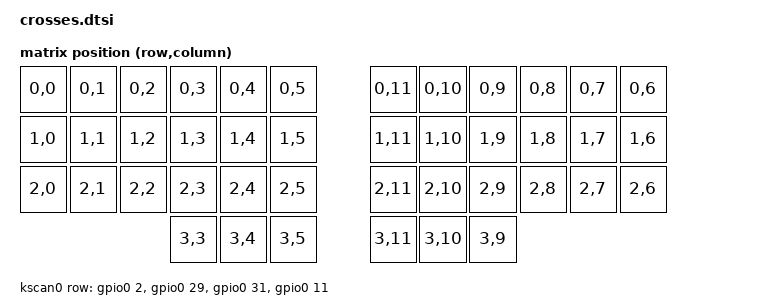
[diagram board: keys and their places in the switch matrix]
#include <dt-bindings/zmk/matrix_transform.h>
#include <dt-bindings/led/led.h>
#include <physical_layouts.dtsi>

/ {
    chosen {
        zmk,kscan = &kscan0;
        zmk,physical-layout = &physical_layout0;
    };

    default_transform: keymap_transform_0 {
        compatible = "zmk,matrix-transform";
        columns = <12>;
        rows = <4>;

        map = <
            RC(0,0) RC(0,1) RC(0,2) RC(0,3) RC(0,4) RC(0,5)                 RC(0,11) RC(0,10) RC(0,9) RC(0,8) RC(0,7) RC(0,6)  
            RC(1,0) RC(1,1) RC(1,2) RC(1,3) RC(1,4) RC(1,5)                 RC(1,11) RC(1,10) RC(1,9) RC(1,8) RC(1,7) RC(1,6) 
            RC(2,0) RC(2,1) RC(2,2) RC(2,3) RC(2,4) RC(2,5)                 RC(2,11) RC(2,10) RC(2,9) RC(2,8) RC(2,7) RC(2,6) 
                                   RC(3,3) RC(3,4) RC(3,5)                 RC(3,11) RC(3,10) RC(3,9)            
        >;
    };

    physical_layout0: physical_layout_0 {
        compatible = "zmk,physical-layout";
        display-name = "Default";
        transform = <&default_transform>;
        kscan = <&kscan0>;

        keys  //                     w   h    x    y     rot    rx    ry
            = <&key_physical_attrs 100 100    0    0       0     0     0>
            , <&key_physical_attrs 100 100  100    0       0     0     0>
            , <&key_physical_attrs 100 100  200    0       0     0     0>
            , <&key_physical_attrs 100 100  300    0       0     0     0>
            , <&key_physical_attrs 100 100  400    0       0     0     0>
            , <&key_physical_attrs 100 100  500    0       0     0     0>
            , <&key_physical_attrs 100 100  700    0       0     0     0>
            , <&key_physical_attrs 100 100  800    0       0     0     0>
            , <&key_physical_attrs 100 100  900    0       0     0     0>
            , <&key_physical_attrs 100 100 1000    0       0     0     0>
            , <&key_physical_attrs 100 100 1100    0       0     0     0>
            , <&key_physical_attrs 100 100 1200    0       0     0     0>
            , <&key_physical_attrs 100 100    0  100       0     0     0>
            , <&key_physical_attrs 100 100  100  100       0     0     0>
            , <&key_physical_attrs 100 100  200  100       0     0     0>
            , <&key_physical_attrs 100 100  300  100       0     0     0>
            , <&key_physical_attrs 100 100  400  100       0     0     0>
            , <&key_physical_attrs 100 100  500  100       0     0     0>
            , <&key_physical_attrs 100 100  700  100       0     0     0>
            , <&key_physical_attrs 100 100  800  100       0     0     0>
            , <&key_physical_attrs 100 100  900  100       0     0     0>
            , <&key_physical_attrs 100 100 1000  100       0     0     0>
            , <&key_physical_attrs 100 100 1100  100       0     0     0>
            , <&key_physical_attrs 100 100 1200  100       0     0     0>
            , <&key_physical_attrs 100 100    0  200       0     0     0>
            , <&key_physical_attrs 100 100  100  200       0     0     0>
            , <&key_physical_attrs 100 100  200  200       0     0     0>
            , <&key_physical_attrs 100 100  300  200       0     0     0>
            , <&key_physical_attrs 100 100  400  200       0     0     0>
            , <&key_physical_attrs 100 100  500  200       0     0     0>
            , <&key_physical_attrs 100 100  700  200       0     0     0>
            , <&key_physical_attrs 100 100  800  200       0     0     0>
            , <&key_physical_attrs 100 100  900  200       0     0     0>
            , <&key_physical_attrs 100 100 1000  200       0     0     0>
            , <&key_physical_attrs 100 100 1100  200       0     0     0>
            , <&key_physical_attrs 100 100 1200  200       0     0     0>
            , <&key_physical_attrs 100 100  300  300       0     0     0>
            , <&key_physical_attrs 100 100  400  300       0     0     0>
            , <&key_physical_attrs 100 100  500  300       0     0     0>
            , <&key_physical_attrs 100 100  700  300       0     0     0>
            , <&key_physical_attrs 100 100  800  300       0     0     0>
            , <&key_physical_attrs 100 100  900  300       0     0     0>
            ;
    };

    kscan0: kscan {
        compatible = "zmk,kscan-gpio-matrix";
        label = "KSCAN";

        diode-direction = "row2col";
        row-gpios
            = <&gpio0 2 GPIO_ACTIVE_HIGH>
            , <&gpio0 29 GPIO_ACTIVE_HIGH>
            , <&gpio0 31 GPIO_ACTIVE_HIGH>
            , <&gpio0 11 GPIO_ACTIVE_HIGH>
            ;
    };
 
};

